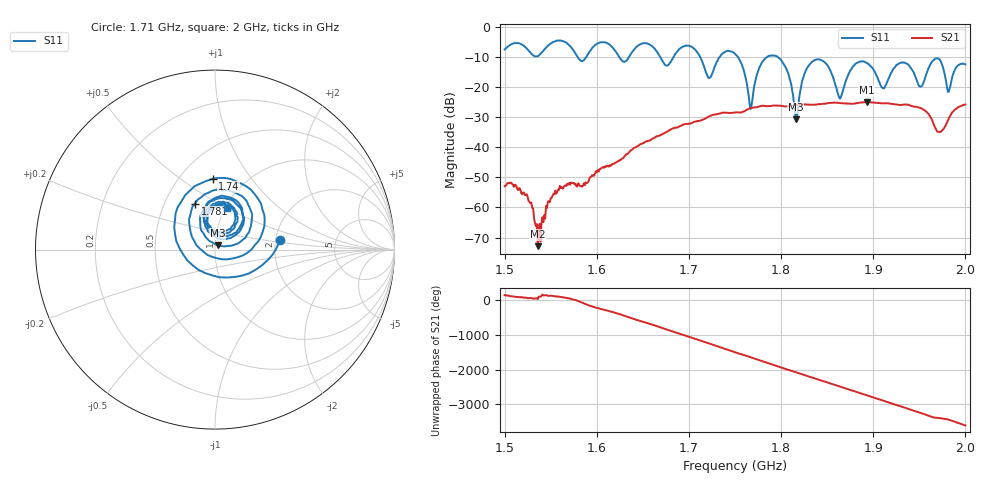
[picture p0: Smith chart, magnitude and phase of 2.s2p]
! NanoVNA-App by SYSJOINT et al v1.1.209 (+OD18)
! Date: 2026-01-21 14:06:39
! Start: 1,5GHz Stop: 2GHz Points: 501
! S-Parameter data: F S11 S21 S12 S22
# Hz S RI R 50
!  Frequency  S11_Real  S11_Imag  S21_Real  S21_Imag  S12_Real  S12_Imag  S22_Real  S22_Imag
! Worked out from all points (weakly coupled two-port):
!   501 points, 1.5 GHz to 2 GHz, reference 50 ohm
!   highest |S21| = -24.95 dB at 1.893 GHz (marker M1); lowest = -72.9 dB at 1.536 GHz (marker M2)
!   lowest |S11| = -30.7 dB at 1.816 GHz (marker M3), VSWR 1.06, Z = 51.5 + j2.56 ohm
!   |S11| at or under -10 dB: 1.712 GHz to 1.733 GHz (20.83 MHz wide, 1.21 % of centre); 1.753 GHz to 1.784 GHz (31.15 MHz wide, 1.76 % of centre); 1.797 GHz to end of sweep (the widest 3 of 6)
!   S12 and S22 are empty: the file has one direction only
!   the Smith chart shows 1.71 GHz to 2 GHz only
!   S11 on the Smith chart (normalised r, x): 1.71 GHz: 2.11, +0.25; 1.74 GHz: 0.71, +0.67; 1.781 GHz: 0.71, +0.39; 2 GHz: 1.02, +0.50
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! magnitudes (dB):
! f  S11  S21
! 1.5 GHz  -7.4  -52.9
! 1.523 GHz  -6.8  -55.9
! 1.536 GHz  -9.6  -72.9
! 1.553 GHz  -4.9  -55.5
! 1.584 GHz  -11.3  -53.1
! 1.667 GHz  -9.0  -36.2
! 1.71 GHz  -8.8  -31.3
! 1.722 GHz  -17.0  -29.7
! 1.74 GHz  -8.1  -28.5
! 1.75 GHz  -8.8  -28.4
! 1.767 GHz  -27.3  -26.9
! 1.781 GHz  -11.1  -26.2
! 1.803 GHz  -12.4  -26.4
! 1.816 GHz  -30.7  -26.0
! 1.834 GHz  -11.4  -25.8
! 1.864 GHz  -23.8  -25.3
! 1.893 GHz  -11.8  -24.9
! 1.917 GHz  -17.0  -25.4
! 1.952 GHz  -19.7  -27.0
! 1.972 GHz  -10.8  -34.9
! 1.982 GHz  -21.5  -30.4
! 2 GHz  -12.4  -25.7
